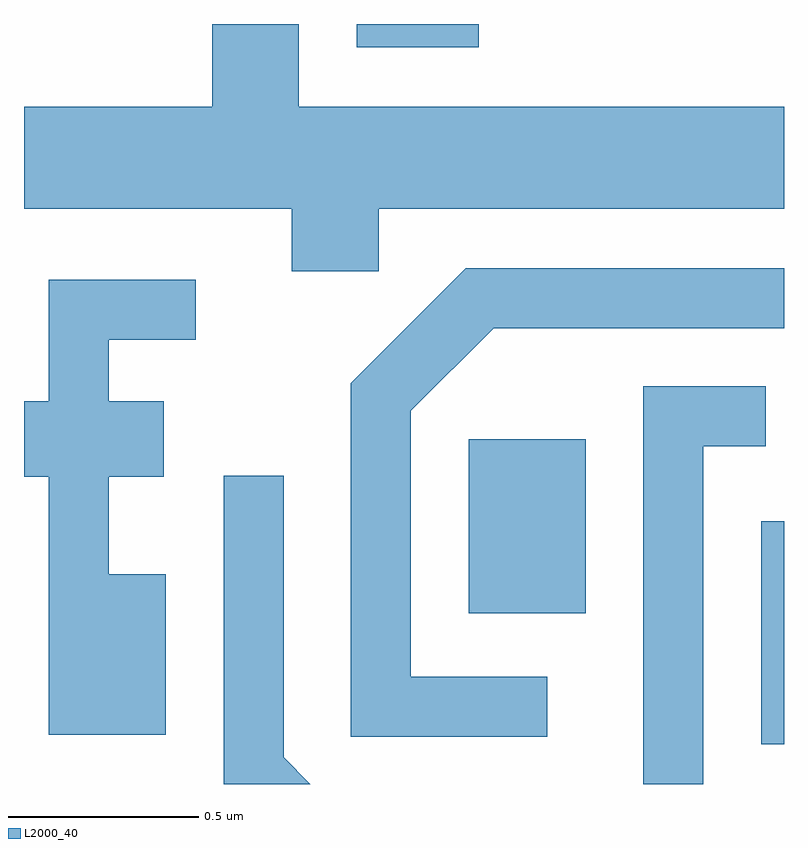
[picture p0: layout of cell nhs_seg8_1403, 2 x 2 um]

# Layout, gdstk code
import gdstk
lib = gdstk.Library(unit=1e-6, precision=1e-09)
def R(c, l, rs):  # rectangles x0, y0, x1, y1
    for r in rs: c.add(gdstk.rectangle(r[:2], r[2:], *l))
def P(c, l, *ps):  # polygons
    for p in ps: c.add(gdstk.Polygon(p, *l))
L2000_40 = (2000, 40)

nhs_seg8_1403 = lib.new_cell('nhs_seg8_1403')
R(nhs_seg8_1403, L2000_40, [(197.551,1839.446,197.611,1840.033), (196.781,1839.791,197.089,1840.249), (196.486,1841.281,196.808,1841.342)])
P(nhs_seg8_1403, L2000_40, [(196.544,1840.856),(197.611,1840.856),(197.611,1841.124),(196.334,1841.124),(196.334,1841.342),(196.106,1841.342),(196.106,1841.124),(195.611,1841.124),(195.611,1840.856),(196.316,1840.856),(196.316,1840.691),(196.544,1840.691)],
  [(196.988,1839.624),(196.629,1839.624),(196.629,1840.324),(196.847,1840.541),(197.611,1840.541),(197.611,1840.699),(196.774,1840.699),(196.471,1840.397),(196.471,1839.466),(196.988,1839.466)],
  [(195.984,1839.894),(195.834,1839.894),(195.834,1840.151),(195.979,1840.151),(195.979,1840.349),(195.834,1840.349),(195.834,1840.511),(196.063,1840.511),(196.063,1840.669),(195.676,1840.669),(195.676,1840.349),(195.611,1840.349),(195.611,1840.151),(195.676,1840.151),(195.676,1839.471),(195.984,1839.471)],
  [(197.399,1840.231),(197.563,1840.231),(197.563,1840.389),(197.241,1840.389),(197.241,1839.342),(197.399,1839.342)],
  [(196.294,1839.412),(196.294,1840.153),(196.136,1840.153),(196.136,1839.342),(196.364,1839.342)])

lib.write_gds('nhs_seg8_1403.gds')
